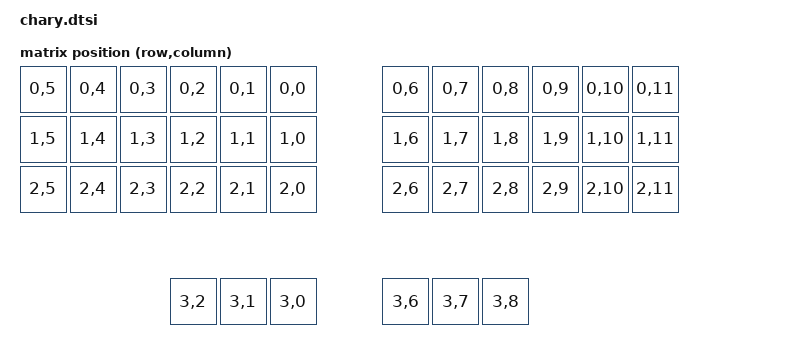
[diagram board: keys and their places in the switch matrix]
/*
 * Copyright (c) 2022 Duccio Breschi
 *
 * SPDX-License-Identifier: MIT
 */

#include <dt-bindings/zmk/matrix_transform.h>
#include <physical_layouts.dtsi>
#include "chary_pointing.dtsi"

/ {
	chosen {

		zmk,kscan = &kscan0;
		zmk,physical-layout = &charybdis;
	};

	splits {
		#address-cells = <1>;
		#size-cells = <0>;

		trackball_split: trackball_split@0 {
			compatible = "zmk,input-split";
			reg = <0>;
		};
	};

	default_transform: keymap_transform_0 {
		compatible = "zmk,matrix-transform";
		columns = <12>;
		rows = <4>;

		map = <
                RC(0,5) RC(0,4) RC(0,3) RC(0,2) RC(0,1) RC(0,0)                      RC(0,6)  RC(0,7) RC(0,8) RC(0,9) RC(0,10) RC(0,11)
                RC(1,5) RC(1,4) RC(1,3) RC(1,2) RC(1,1) RC(1,0)                      RC(1,6)  RC(1,7) RC(1,8) RC(1,9) RC(1,10) RC(1,11)
                RC(2,5) RC(2,4) RC(2,3) RC(2,2) RC(2,1) RC(2,0)                      RC(2,6)  RC(2,7) RC(2,8) RC(2,9) RC(2,10) RC(2,11)
				                              RC(3,2) RC(3,1) RC(3,0)                      RC(3,6)  RC(3,7) RC(3,8)
		>;
	};

	charybdis: charybdis {
		compatible = "zmk,physical-layout";
		display-name = "matrix layout";
	 kscan = <&kscan0>;
		transform = <&default_transform>;
keys  //                  w   h    x    y     rot    rx    ry
            = <&key_physical_attrs 100 100    0    0       0     0     0>
            , <&key_physical_attrs 100 100  100    0       0     0     0>
            , <&key_physical_attrs 100 100  200    0       0     0     0>
            , <&key_physical_attrs 100 100  300    0       0     0     0>
            , <&key_physical_attrs 100 100  400    0       0     0     0>
            , <&key_physical_attrs 100 100  500    0       0     0     0>
            , <&key_physical_attrs 100 100  725    0       0     0     0>
            , <&key_physical_attrs 100 100  825    0       0     0     0>
            , <&key_physical_attrs 100 100  925    0       0     0     0>
            , <&key_physical_attrs 100 100 1025    0       0     0     0>
            , <&key_physical_attrs 100 100 1125    0       0     0     0>
            , <&key_physical_attrs 100 100 1225    0       0     0     0>

            , <&key_physical_attrs 100 100    0  100       0     0     0>
            , <&key_physical_attrs 100 100  100  100       0     0     0>
            , <&key_physical_attrs 100 100  200  100       0     0     0>
            , <&key_physical_attrs 100 100  300  100       0     0     0>
            , <&key_physical_attrs 100 100  400  100       0     0     0>
            , <&key_physical_attrs 100 100  500  100       0     0     0>
            , <&key_physical_attrs 100 100  725  100       0     0     0>
            , <&key_physical_attrs 100 100  825  100       0     0     0>
            , <&key_physical_attrs 100 100  925  100       0     0     0>
            , <&key_physical_attrs 100 100 1025  100       0     0     0>
            , <&key_physical_attrs 100 100 1125  100       0     0     0>
            , <&key_physical_attrs 100 100 1225  100       0     0     0>

            , <&key_physical_attrs 100 100    0  200       0     0     0>
            , <&key_physical_attrs 100 100  100  200       0     0     0>
            , <&key_physical_attrs 100 100  200  200       0     0     0>
            , <&key_physical_attrs 100 100  300  200       0     0     0>
            , <&key_physical_attrs 100 100  400  200       0     0     0>
            , <&key_physical_attrs 100 100  500  200       0     0     0>
            , <&key_physical_attrs 100 100  725  200       0     0     0>
            , <&key_physical_attrs 100 100  825  200       0     0     0>
            , <&key_physical_attrs 100 100  925  200       0     0     0>
            , <&key_physical_attrs 100 100 1025  200       0     0     0>
            , <&key_physical_attrs 100 100 1125  200       0     0     0>
            , <&key_physical_attrs 100 100 1225  200       0     0     0>

            , <&key_physical_attrs 100 100  300  425       0     0     0>
            , <&key_physical_attrs 100 100  400  425       0     0     0>
            , <&key_physical_attrs 100 100  500  425       0     0     0>
            , <&key_physical_attrs 100 100  725  425       0     0     0>
            , <&key_physical_attrs 100 100  825  425       0     0     0>
            , <&key_physical_attrs 100 100  925  425       0     0     0>
            ;
    };


};
